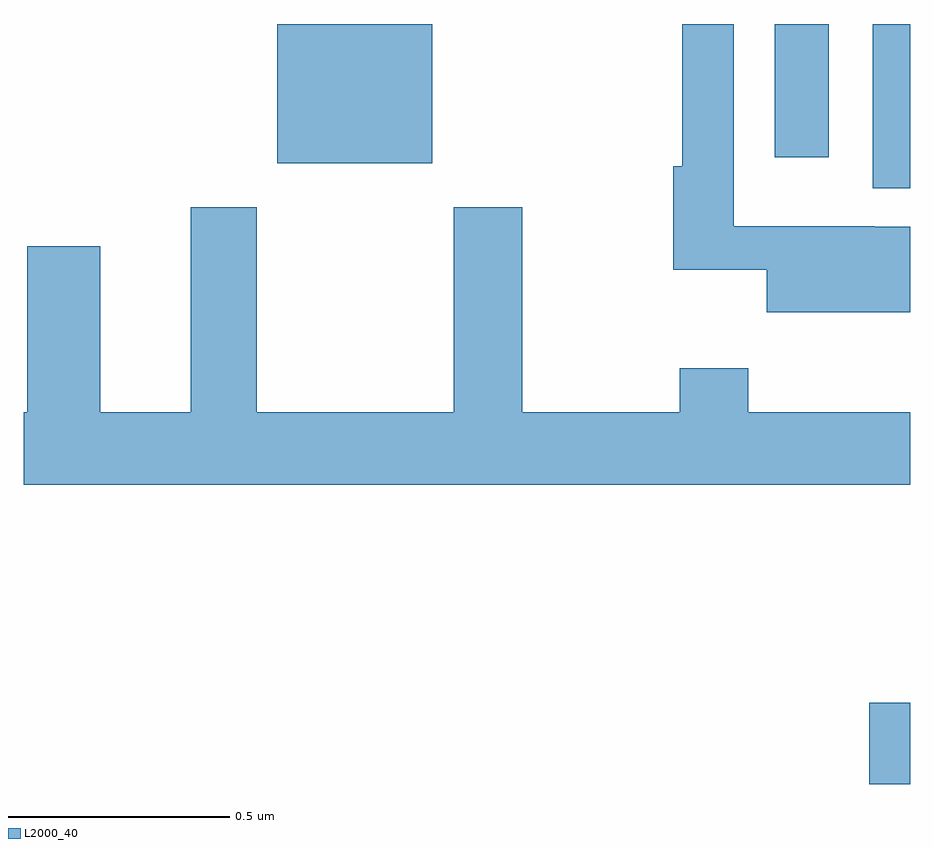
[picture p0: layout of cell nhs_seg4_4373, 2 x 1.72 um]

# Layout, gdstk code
import gdstk
lib = gdstk.Library(unit=1e-6, precision=1e-09)
def R(c, l, rs):  # rectangles x0, y0, x1, y1
    for r in rs: c.add(gdstk.rectangle(r[:2], r[2:], *l))
def P(c, l, *ps):  # polygons
    for p in ps: c.add(gdstk.Polygon(p, *l))
L2000_40 = (2000, 40)

nhs_seg4_4373 = lib.new_cell('nhs_seg4_4373')
R(nhs_seg4_4373, L2000_40, [(166.908,756.185,167,756.368), (166.916,757.529,167,757.9), (165.572,757.586,165.922,757.9), (166.694,757.599,166.816,757.9)])
P(nhs_seg4_4373, L2000_40, [(167,757.443),(166.92,757.443),(166.92,757.444),(166.602,757.444),(166.602,757.9),(166.486,757.9),(166.486,757.579),(166.465,757.579),(166.465,757.345),(166.676,757.345),(166.676,757.25),(167,757.25)],
  [(167,757.024),(166.635,757.024),(166.635,757.123),(166.48,757.123),(166.48,757.024),(166.125,757.024),(166.125,757.486),(165.97,757.486),(165.97,757.024),(165.525,757.024),(165.525,757.486),(165.377,757.486),(165.377,757.024),(165.172,757.024),(165.172,757.399),(165.008,757.399),(165.008,757.024),(165,757.024),(165,756.86),(167,756.86)])

lib.write_gds('nhs_seg4_4373.gds')
